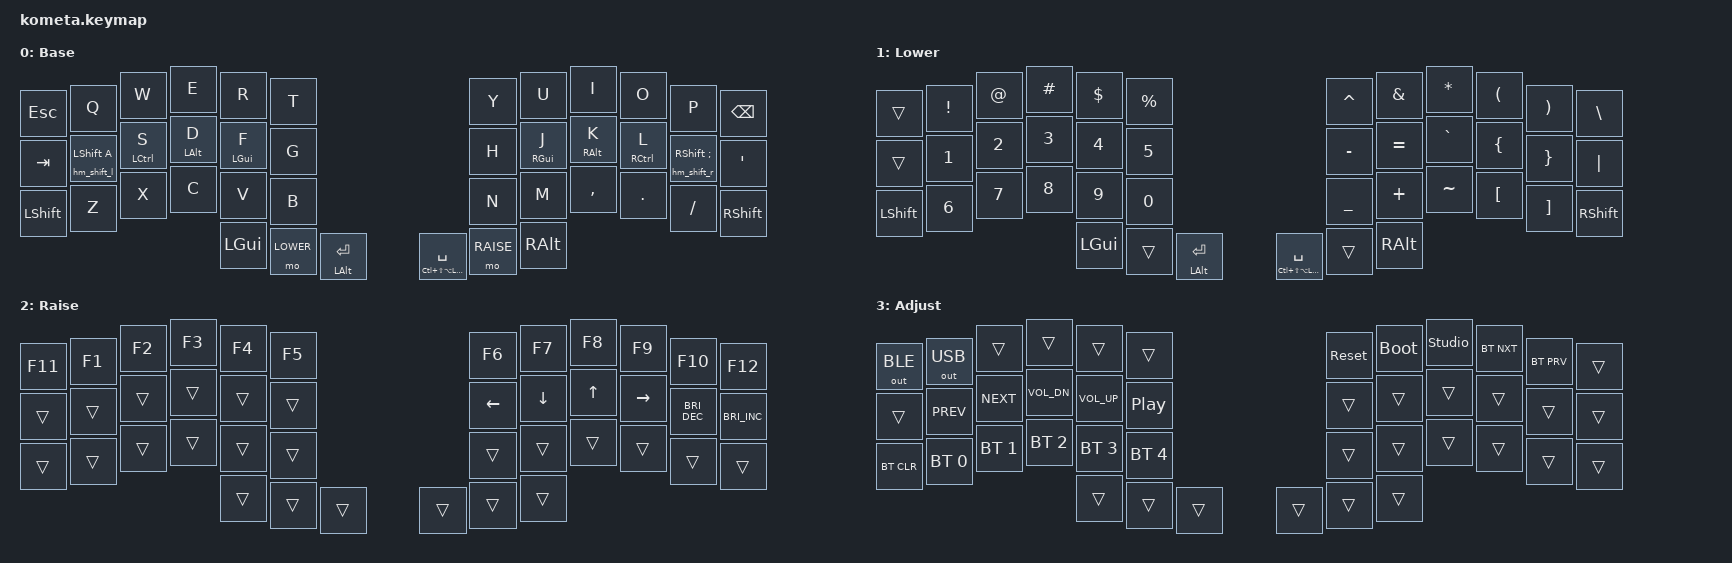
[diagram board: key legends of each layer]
/*
 * Copyright (c) 2020 The ZMK Contributors
 *
 * SPDX-License-Identifier: MIT
 */

#include <behaviors.dtsi>
#include <dt-bindings/zmk/keys.h>
#include <dt-bindings/zmk/bt.h>
#include <dt-bindings/zmk/outputs.h>

// Source desired key-position labels (42.h: 6 columns x 3 rows + 3 thumbs per half)
#include "zmk-helpers/helper.h"
#include "zmk-helpers/key-labels/42.h"

#define KEYS_L LT0 LT1 LT2 LT3 LT4 LT5 LM0 LM1 LM2 LM3 LM4 LM5 LB0 LB1 LB2 LB3 LB4 LB5
#define KEYS_R RT0 RT1 RT2 RT3 RT4 RT5 RM0 RM1 RM2 RM3 RM4 RM5 RB0 RB1 RB2 RB3 RB4 RB5
#define KEYS_T LH2 LH1 LH0 RH0 RH1 RH2

// Personal includes
#include "includes/behaviours_homerow_mods.dtsi"

#define BASE    0
#define LOWER   1
#define RAISE   2
#define ADJUST  3

#include "includes/combos.dtsi"

/ {
        behaviors {
          tp: tap_preferred {
            compatible = "zmk,behavior-hold-tap";
            label = "TAP_PREFERRED";
            #binding-cells = <2>;
            tapping-term-ms = <200>;
            quick-tap-ms = <0>;
            flavor = "tap-preferred";
            bindings = <&kp>, <&kp>;
          };
        };

        conditional_layers {
          compatible = "zmk,conditional-layers";
          tri_layer {
              if-layers = <LOWER RAISE>;
              then-layer = <ADJUST>;
          };
        };

        keymap {
                compatible = "zmk,keymap";

                default_layer {
                        display-name = "Base";
                        label = "BASE";

// -----------------------------------------------------------------------------------------
// | ESC  |  Q  |  W  |  E  |  R  |    T    |   |  Y  |  U  |  I  |  O  |  P  | BKSP |
// | TAB  |  A* |  S* |  D* |  F* |    G    |   |  H  |  J* |  K* |  L* |  ;* |  '   |
// | SHFT |  Z  |  X  |  C  |  V  |    B    |   |  N  |  M  |  ,  |  .  |  /  | SHFT |
//                    | GUI | LWR | ENT/ALT |   | SPC/HYPR | RSE  | ALT |
//
// * hold for mods: A=Shift S=Ctrl D=Alt F=Gui | J=Gui K=Alt L=Ctrl ;=Shift
                        bindings = <
   &kp ESC   &kp Q              &kp W &kp E &kp R &kp T            &kp Y &kp U      &kp I      &kp O     &kp P        &kp BSPC
   &kp TAB   &hm_shift_l LSHFT A &hm_l LCTRL S &hm_l LALT D &hm_l LGUI F &kp G    &kp H &hm_r RGUI J &hm_r RALT K &hm_r RCTRL L &hm_shift_r RSHFT SEMI &kp SQT
   &kp LSHFT &kp Z &kp X &kp C &kp V &kp B            &kp N &kp M  &kp COMMA &kp DOT &kp FSLH &kp RSHFT
               &kp LGUI &mo LOWER    &tp LALT RET   &tp LC(LS(LA(LGUI))) SPACE &mo RAISE &kp RALT
                        >;
                };

                lower_layer {
                        display-name = "Lower";
                        label = "LOWER";

// -----------------------------------------------------------------------------------------
// |      |  !  |  @  |  #  |  $  |    %     |   |  ^  |  &  |  *  |  (  |  )  |   \   |
// |      |  1  |  2  |  3  |  4  |    5     |   |  -  |  =  |  `  |  {  |  }  |  "|"  |
// | SHFT |  6  |  7  |  8  |  9  |    0     |   |  _  |  +  |  ~  |  [  |  ]  | RSHFT |
//                     | GUI |     | ENT/ALT |   | SPC/HYPR |      |  ALT  |
                        bindings = <
   &trans    &kp EXCL &kp AT &kp HASH &kp DLLR &kp PRCNT   &kp CARET &kp AMPS  &kp ASTRK &kp LPAR &kp RPAR &kp BSLH
   &trans    &kp N1   &kp N2 &kp N3   &kp N4   &kp N5      &kp MINUS &kp EQUAL &kp GRAVE &kp LBRC &kp RBRC &kp PIPE
   &kp LSHFT &kp N6   &kp N7 &kp N8   &kp N9   &kp N0      &kp UNDER &kp PLUS  &kp TILDE &kp LBKT &kp RBKT &kp RSHFT
                         &kp LGUI &trans  &tp LALT RET     &tp LC(LS(LA(LGUI))) SPACE &trans &kp RALT
                        >;
                };

                raise_layer {
                        display-name = "Raise";
                        label = "RAISE";

// -----------------------------------------------------------------------------------------
// |  F11 |  F1 |  F2 |  F3 |  F4 |   F5    |   |  F6  |  F7  |  F8  |  F9  | F10 |  F12  |
// |  TAB |     |     |     |     |         |   | LFT  | DWN  |  UP  | RGT  |BRI- | BRI+  |
// |      |     |     |     |     |         |   |      |      |      |      |     |       |
//                       |      |      |      |    |      |      |      |
                        bindings = <
   &kp F11   &kp F1   &kp F2   &kp F3   &kp F4   &kp F5      &kp F6   &kp F7   &kp F8   &kp F9    &kp F10  &kp F12
   &trans    &trans   &trans   &trans   &trans   &trans      &kp LEFT &kp DOWN &kp UP &kp RIGHT &kp C_BRI_DEC &kp C_BRI_INC
   &trans    &trans   &trans   &trans   &trans   &trans      &trans   &trans   &trans &trans    &trans   &trans
                               &trans   &trans   &trans      &trans   &trans   &trans
                        >;
                };

                adjust_layer {
                        display-name = "Adjust";
                        label = "ADJUST";

// -----------------------------------------------------------------------------------------
// | OUT_B | OUT_U|      |       |       |            | RESET | BOOT | STUDIO | BT+ | BT- |      |
// |       | Prev | Next | Vol - | Vol + | Play/Pause |       |      |        |     |     |      |
// | BTCLR | BT1  | BT2  | BT3   | BT4   | BT5        |       |      |        |     |     |      |
//                       |       |       |            |       |      |        |     |
                        bindings = <
   &out OUT_BLE  &out OUT_USB  &trans       &trans       &trans       &trans            &sys_reset &bootloader &studio_unlock &bt BT_NXT &bt BT_PRV &trans
   &trans        &kp C_PREV    &kp C_NEXT   &kp C_VOL_DN &kp C_VOL_UP &kp C_PP          &trans  &trans  &trans  &trans  &trans &trans
   &bt BT_CLR    &bt BT_SEL 0  &bt BT_SEL 1 &bt BT_SEL 2 &bt BT_SEL 3 &bt BT_SEL 4      &trans  &trans  &trans  &trans  &trans &trans
                          	            &trans       &trans       &trans            &trans  &trans  &trans
                        >;
                };
        };
};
